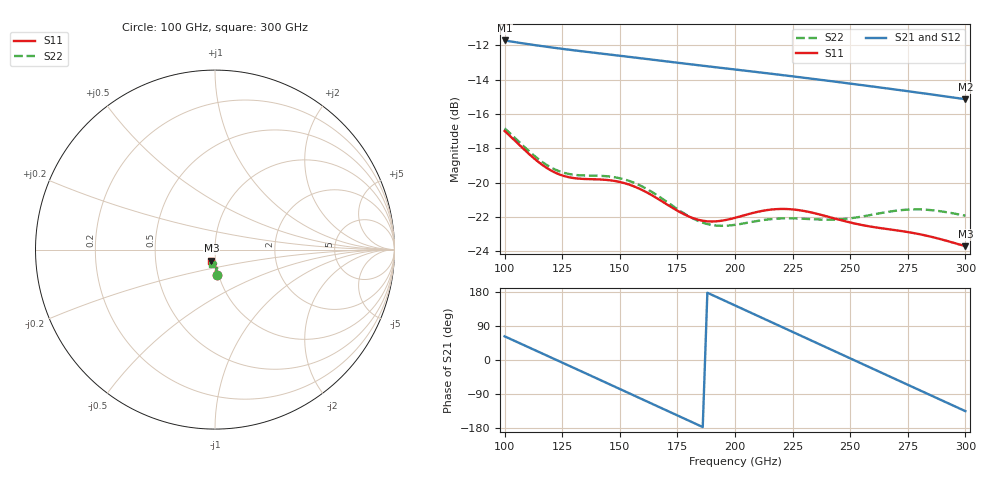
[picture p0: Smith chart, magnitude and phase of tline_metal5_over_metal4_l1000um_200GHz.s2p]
#  GHZ S DB R 50
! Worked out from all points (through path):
!   101 points, 100 GHz to 300 GHz, reference 50 ohm
!   highest |S21| = -11.71 dB at 100 GHz (marker M1); lowest = -15.1 dB at 300 GHz (marker M2)
!   group delay of S21, straight-line fit = 7.75 ps
!   lowest |S11| = -23.7 dB at 300 GHz (marker M3), VSWR 1.14, Z = 47.7 - j5.97 ohm
!   |S11| at or under -10 dB: start of sweep to end of sweep
!   |S22| runs from -22.5 to -16.8 dB; largest |S21 - S12| = 3.5e-14
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100  -16.98 -85.4  -11.71 62.5  -11.71 62.5  -16.83 -84.7
110  -18.25 -87.6  -11.92 34.7  -11.92 34.7  -18.09 -86.8
118  -19.11 -86.7  -12.07 12.6  -12.07 12.6  -18.94 -86.0
126  -19.62 -84.9  -12.21 -9.6  -12.21 -9.6  -19.43 -84.2
134  -19.78 -83.8  -12.35 -31.9  -12.35 -31.9  -19.58 -83.3
144  -19.83 -85.1  -12.51 -59.7  -12.51 -59.7  -19.62 -84.8
152  -20.02 -87.7  -12.63 -82.1  -12.63 -82.1  -19.81 -87.7
160  -20.44 -90.5  -12.76 -104.4  -12.76 -104.4  -20.24 -90.8
168  -21.06 -92.2  -12.89 -126.7  -12.89 -126.7  -20.89 -93.0
176  -21.71 -92.0  -13.02 -149.1  -13.02 -149.1  -21.63 -93.2
184  -22.16 -89.9  -13.15 -171.4  -13.15 -171.4  -22.23 -91.4
192  -22.25 -87.5  -13.28 166.3  -13.28 166.3  -22.50 -88.5
200  -22.05 -86.2  -13.40 144.0  -13.40 144.0  -22.45 -86.4
210  -21.69 -87.4  -13.56 116.1  -13.56 116.1  -22.22 -85.8
218  -21.54 -89.9  -13.69 93.7  -13.69 93.7  -22.10 -86.7
226  -21.57 -93.0  -13.82 71.4  -13.82 71.4  -22.08 -88.0
234  -21.76 -95.8  -13.95 49.0  -13.95 49.0  -22.13 -88.9
250  -22.32 -99.4  -14.22 4.3  -14.22 4.3  -22.07 -89.7
258  -22.54 -100.4  -14.36 -18.0  -14.36 -18.0  -21.90 -90.6
268  -22.74 -101.9  -14.54 -45.9  -14.54 -45.9  -21.67 -92.9
284  -23.11 -105.1  -14.83 -90.4  -14.83 -90.4  -21.58 -98.5
300  -23.70 -107.5  -15.13 -135.0  -15.13 -135.0  -21.92 -103.2
